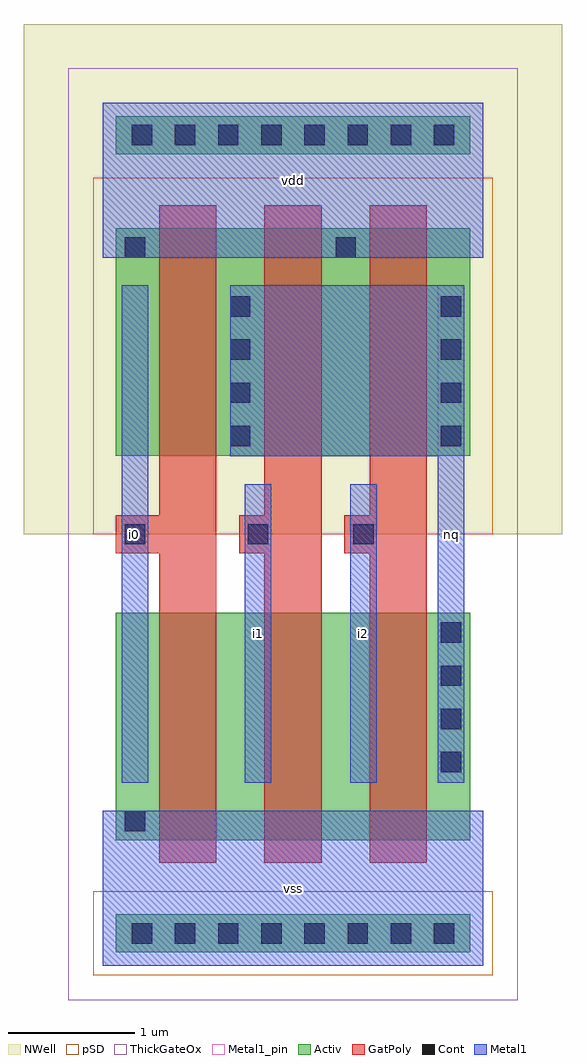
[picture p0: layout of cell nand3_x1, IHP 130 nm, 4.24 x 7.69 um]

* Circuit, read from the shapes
.subckt nand3_x1 i0 i1 i2 nq vdd vss
XM1 n1 i0 vss vss sg13_hv_nmos w=1.79u l=0.45u
XM2 n2 i1 n1 vss sg13_hv_nmos w=1.79u l=0.45u
XM3 nq i2 n2 vss sg13_hv_nmos w=1.79u l=0.45u
XM4 nq i0 vdd vdd sg13_hv_pmos w=1.79u l=0.45u
XM5 vdd i1 nq vdd sg13_hv_pmos w=1.79u l=0.45u
XM6 nq i2 vdd vdd sg13_hv_pmos w=1.79u l=0.45u
.ends

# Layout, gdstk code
import gdstk
lib = gdstk.Library(unit=1e-6, precision=1e-09)
def R(c, l, rs):  # rectangles x0, y0, x1, y1
    for r in rs: c.add(gdstk.rectangle(r[:2], r[2:], *l))
def A(c, l, x, y, w, h, nx, ny, dx, dy):  # array of equal rectangles
    R(c, l, [(x+i*dx, y+j*dy, x+i*dx+w, y+j*dy+h) for i in range(nx) for j in range(ny)])
def P(c, l, *ps):  # polygons
    for p in ps: c.add(gdstk.Polygon(p, *l))
Activ = (1, 0)
GatPoly = (5, 0)
Cont = (6, 0)
Metal1 = (8, 0)
Metal1_pin = (8, 2)
pSD = (14, 0)
NWell = (31, 0)
ThickGateOx = (44, 0)

nand3_x1 = lib.new_cell('nand3_x1')
R(nand3_x1, Activ, [(0.105,0.105,2.895,0.405), (0.105,0.99,2.895,2.78), (0.105,4.02,2.895,5.81), (0.105,6.395,2.895,6.695)])
P(nand3_x1, GatPoly, [(0.445,0.81),(0.445,3.25),(0.105,3.25),(0.105,3.55),(0.445,3.55),(0.445,5.99),(0.895,5.99),(0.895,0.81)],
  [(1.275,0.81),(1.275,3.25),(1.075,3.25),(1.075,3.55),(1.275,3.55),(1.275,5.99),(1.725,5.99),(1.725,0.81)],
  [(2.105,0.81),(2.105,3.25),(1.905,3.25),(1.905,3.55),(2.105,3.55),(2.105,5.99),(2.555,5.99),(2.555,0.81)])
A(nand3_x1, Cont, 0.23, 0.175, 0.16, 0.16, 8, 2, 0.34, 6.29)
A(nand3_x1, Cont, 0.175, 1.06, 0.16, 0.16, 1, 3, 0, 2.26)
A(nand3_x1, Cont, 2.665, 1.525, 0.16, 0.16, 1, 4, 0, 0.34)
A(nand3_x1, Cont, 1.005, 4.095, 0.16, 0.16, 1, 4, 0, 0.34)
A(nand3_x1, Cont, 2.665, 4.095, 0.16, 0.16, 1, 4, 0, 0.34)
R(nand3_x1, Cont, [(1.145,3.32,1.305,3.48), (1.975,3.32,2.135,3.48), (1.835,5.58,1.995,5.74)])
R(nand3_x1, Metal1, [(0,0,3,1.22), (0.15,1.44,0.36,5.36), (1.12,1.44,1.33,3.795), (1.95,1.44,2.16,3.795), (0,5.58,3,6.8)])
P(nand3_x1, Metal1, [(2.64,1.44),(2.64,4.015),(1.005,4.015),(1.005,5.36),(2.85,5.36),(2.85,1.44)])
R(nand3_x1, Metal1_pin, [(0,0,3,1.22), (0.15,1.44,0.36,5.36), (1.12,1.44,1.33,3.795), (1.95,1.44,2.16,3.795), (2.64,1.44,2.85,5.36), (0,5.58,3,6.8)])
R(nand3_x1, pSD, [(-0.075,-0.075,3.075,0.585), (-0.075,3.4,3.075,6.21)])
R(nand3_x1, NWell, [(-0.62,3.4,3.62,7.42)])
R(nand3_x1, ThickGateOx, [(-0.27,-0.27,3.27,7.07)])
nand3_x1.add(gdstk.Label('vss', (1.5,0.61), layer=8, texttype=2))
nand3_x1.add(gdstk.Label('vdd', (1.5,6.19), layer=8, texttype=2))
nand3_x1.add(gdstk.Label('i0', (0.255,3.4), layer=8, texttype=2))
nand3_x1.add(gdstk.Label('nq', (2.745,3.4), layer=8, texttype=2))
nand3_x1.add(gdstk.Label('i1', (1.225,2.618), layer=8, texttype=2))
nand3_x1.add(gdstk.Label('i2', (2.055,2.618), layer=8, texttype=2))

lib.write_gds('nand3_x1.gds')
